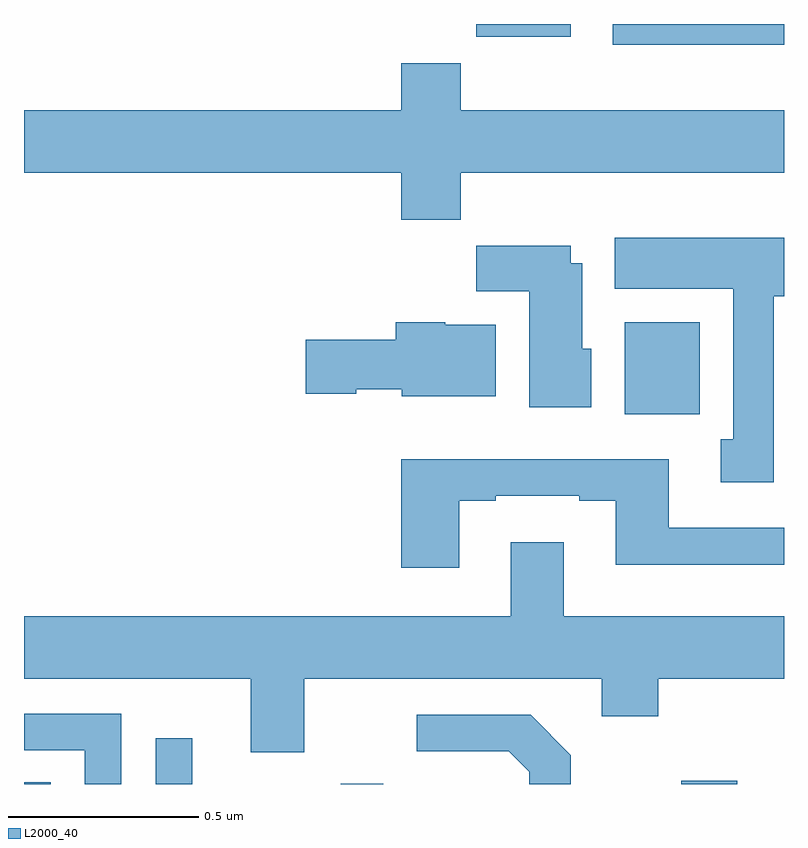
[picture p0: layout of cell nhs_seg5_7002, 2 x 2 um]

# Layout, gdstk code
import gdstk
lib = gdstk.Library(unit=1e-6, precision=1e-09)
def R(c, l, rs):  # rectangles x0, y0, x1, y1
    for r in rs: c.add(gdstk.rectangle(r[:2], r[2:], *l))
def P(c, l, *ps):  # polygons
    for p in ps: c.add(gdstk.Polygon(p, *l))
L2000_40 = (2000, 40)

nhs_seg5_7002 = lib.new_cell('nhs_seg5_7002')
R(nhs_seg5_7002, L2000_40, [(203,873.799,203.07,873.803), (203.347,873.799,203.443,873.919), (203.833,873.799,203.945,873.8), (204.729,873.799,204.877,873.808), (204.581,874.772,204.778,875.014), (204.549,875.744,205,875.799), (204.19,875.766,204.439,875.799)])
P(nhs_seg5_7002, L2000_40, [(204.149,875.408),(205,875.408),(205,875.572),(204.149,875.572),(204.149,875.696),(203.993,875.696),(203.993,875.572),(203,875.572),(203,875.408),(203.993,875.408),(203.993,875.284),(204.149,875.284)],
  [(204.973,875.082),(205,875.082),(205,875.236),(204.554,875.236),(204.554,875.102),(204.866,875.102),(204.866,874.706),(204.833,874.706),(204.833,874.593),(204.973,874.593)],
  [(204.493,874.944),(204.469,874.944),(204.469,875.17),(204.439,875.17),(204.439,875.215),(204.19,875.215),(204.19,875.096),(204.329,875.096),(204.329,874.79),(204.493,874.79)],
  [(204.241,875.008),(204.108,875.008),(204.108,875.014),(203.978,875.014),(203.978,874.968),(203.742,874.968),(203.742,874.826),(203.874,874.826),(203.874,874.838),(203.994,874.838),(203.994,874.82),(204.241,874.82)],
  [(204.145,874.545),(204.241,874.545),(204.241,874.557),(204.461,874.557),(204.461,874.545),(204.557,874.545),(204.557,874.376),(205,874.376),(205,874.473),(204.697,874.473),(204.697,874.654),(203.993,874.654),(203.993,874.368),(204.145,874.368)],
  [(203.737,874.076),(204.521,874.076),(204.521,873.977),(204.669,873.977),(204.669,874.076),(205,874.076),(205,874.24),(204.421,874.24),(204.421,874.435),(204.281,874.435),(204.281,874.24),(203,874.24),(203,874.076),(203.597,874.076),(203.597,873.882),(203.737,873.882)],
  [(203.256,873.984),(203,873.984),(203,873.888),(203.16,873.888),(203.16,873.799),(203.256,873.799)],
  [(204.439,873.875),(204.333,873.981),(204.033,873.981),(204.033,873.885),(204.276,873.885),(204.33,873.831),(204.33,873.799),(204.439,873.799)])

lib.write_gds('nhs_seg5_7002.gds')
